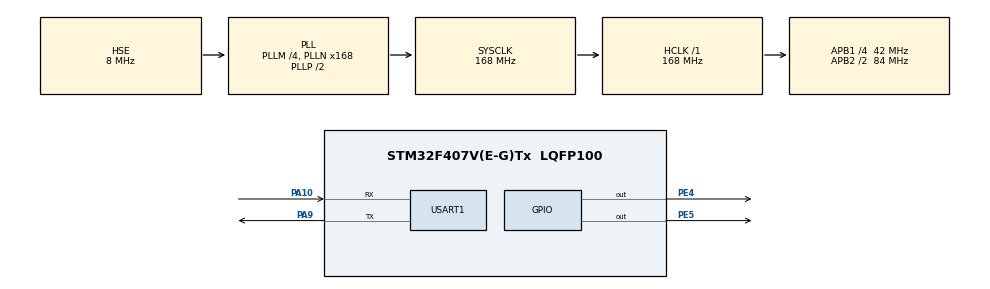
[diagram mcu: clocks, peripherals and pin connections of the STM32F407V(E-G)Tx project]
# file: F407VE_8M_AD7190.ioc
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Mcu.Family=STM32F4
Mcu.Name=STM32F407V(E-G)Tx
Mcu.Package=LQFP100
NVIC.PriorityGroup=NVIC_PRIORITYGROUP_4
NVIC.USART1_IRQn=true\:0\:0\:false\:false\:true\:true\:true
PA10.Mode=Asynchronous
PA10.Signal=USART1_RX
PA13.Mode=Serial_Wire
PA13.Signal=SYS_JTMS-SWDIO
PA14.Mode=Serial_Wire
PA14.Signal=SYS_JTCK-SWCLK
PA9.Mode=Asynchronous
PA9.Signal=USART1_TX
PC14-OSC32_IN.Mode=LSE-External-Oscillator
PC14-OSC32_IN.Signal=RCC_OSC32_IN
PC15-OSC32_OUT.Mode=LSE-External-Oscillator
PC15-OSC32_OUT.Signal=RCC_OSC32_OUT
PE4.GPIO_ModeDefaultOutputPP=GPIO_MODE_OUTPUT_PP
PE4.GPIO_PuPd=GPIO_PULLUP
PE4.GPIO_Speed=GPIO_SPEED_FREQ_VERY_HIGH
PE4.PinState=GPIO_PIN_SET
PE4.Signal=GPIO_Output
PE5.GPIO_ModeDefaultOutputPP=GPIO_MODE_OUTPUT_PP
PE5.GPIO_PuPd=GPIO_PULLUP
PE5.GPIO_Speed=GPIO_SPEED_FREQ_VERY_HIGH
PE5.PinState=GPIO_PIN_SET
PE5.Signal=GPIO_Output
PH0-OSC_IN.Mode=HSE-External-Oscillator
PH0-OSC_IN.Signal=RCC_OSC_IN
PH1-OSC_OUT.Mode=HSE-External-Oscillator
PH1-OSC_OUT.Signal=RCC_OSC_OUT
ProjectManager.HeapSize=0x200
ProjectManager.StackSize=0x400
ProjectManager.TargetToolchain=MDK-ARM V5.27
RCC.48MHZClocksFreq_Value=84000000
RCC.AHBFreq_Value=168000000
RCC.APB1CLKDivider=RCC_HCLK_DIV4
RCC.APB1Freq_Value=42000000
RCC.APB1TimFreq_Value=84000000
RCC.APB2CLKDivider=RCC_HCLK_DIV2
RCC.APB2Freq_Value=84000000
RCC.APB2TimFreq_Value=168000000
RCC.CortexFreq_Value=168000000
RCC.HCLKFreq_Value=168000000
RCC.HSE_VALUE=8000000
RCC.HSI_VALUE=16000000
RCC.PLLM=4
RCC.PLLN=168
RCC.PLLSourceVirtual=RCC_PLLSOURCE_HSE
RCC.SYSCLKFreq_VALUE=168000000
RCC.SYSCLKSource=RCC_SYSCLKSOURCE_PLLCLK
RCC.VCOOutputFreq_Value=336000000
USART1.VirtualMode=VM_ASYNC
board=custom

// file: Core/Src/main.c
/* USER CODE BEGIN Header */
/**
  ******************************************************************************
  * @file           : main.c
  * @brief          : Main program body
  ******************************************************************************
  * @attention
  *
  * <h2><center>&copy; Copyright (c) 2021 STMicroelectronics.
  * All rights reserved.</center></h2>
  *
  * This software component is licensed by ST under BSD 3-Clause license,
  * the "License"; You may not use this file except in compliance with the
  * License. You may obtain a copy of the License at:
  *                        opensource.org/licenses/BSD-3-Clause
  *
  ******************************************************************************
  */
/* USER CODE END Header */
#include "main.h"
#include "usart.h"
#include "gpio.h"

/* USER CODE BEGIN Includes */
#include "DELAY/delay.h"
#include "AD7190/ad7190.h"
/* USER CODE END Includes */

/* USER CODE BEGIN PV */
MyUARTHandle uartHandle;
uint8_t uartBuf[100];
/* USER CODE END PV */

void SystemClock_Config(void);

/* USER CODE BEGIN 0 */
void demo()
{
  AD7190_SetConf(0x000100); // //write configuration register,bipolar operation,gain=1,channel:AIN1 to AIN2
  AD7190_SetMode(0x0803FF); // write mode register,internal 4.92MHz clock,output data rate=4.7Hz
}
/* USER CODE END 0 */

int main(void)
{
  /* USER CODE BEGIN 1 */
  uint32_t ID, conf;
  uint8_t str[100];
  uint32_t val;
  /* USER CODE END 1 */

  /* MCU Configuration--------------------------------------------------------*/

  /* Reset of all peripherals, Initializes the Flash interface and the Systick. */
  HAL_Init();

  /* Configure the system clock */
  SystemClock_Config();

  /* Initialize all configured peripherals */
  MX_GPIO_Init();
  MX_USART1_UART_Init();
  /* USER CODE BEGIN 2 */
  Delay_Init(168);
  AD7190_Init(3.0);
  MyUART_Init(&uartHandle, USART1, uartBuf, 100);
  printf("AD7190 Test\r\n\r\n");
  /* USER CODE END 2 */

  /* Infinite loop */
  while (1)
  {

    /* USER CODE BEGIN 3 */
    val=MyUART_ReadUntil(&uartHandle, str, '>');
    if(val)
    {
      str[val]='\0';
      if(str[0]=='r')
      {
        AD7190_Reset();
        printf("Reset sequence sent\r\n");
      }
      else if(str[0]=='i')
        printf("ID: 0x%x\r\n", AD7190_GetID());
      else if(str[0]=='c')
      {
        if(str[1]=='\0' || str[1]=='>')
          printf("Conf: 0x%x\r\n", AD7190_GetConf());
        else
        {
          AD7190_SetConf(myatoi_hex(str+1));
          printf("SetConf: 0x%x\r\n", AD7190_GetConf());
        }
      }
      else if(str[0]=='s')
        printf("State: 0x%x\r\n", AD7190_GetState());
      else if(str[0]=='m')
      {
        if(str[1]=='\0' || str[1]=='>')
          printf("Mode: 0x%x\r\n", AD7190_GetMode());
        else
        {
          AD7190_SetMode(myatoi_hex(str+1));
          printf("SetMode: 0x%x\r\n", AD7190_GetMode());
        }
      }
      else if(str[0]=='d')
        printf("Data: 0x%x\r\n", AD7190_GetData());
      else if(str[0]=='v')
        printf("Voltage: %f\r\n", AD7190_GetVoltage());
      else if(str[0]=='t')
      {
        demo();
        printf("Demo\r\n");
      }
    }
    Delay_ms(20);
  }
  /* USER CODE END 3 */
}

void SystemClock_Config(void)
{
  RCC_OscInitTypeDef RCC_OscInitStruct = {0};
  RCC_ClkInitTypeDef RCC_ClkInitStruct = {0};

  /** Configure the main internal regulator output voltage
  */
  __HAL_RCC_PWR_CLK_ENABLE();
  __HAL_PWR_VOLTAGESCALING_CONFIG(PWR_REGULATOR_VOLTAGE_SCALE1);
  /** Initializes the RCC Oscillators according to the specified parameters
  * in the RCC_OscInitTypeDef structure.
  */
  RCC_OscInitStruct.OscillatorType = RCC_OSCILLATORTYPE_HSE;
  RCC_OscInitStruct.HSEState = RCC_HSE_ON;
  RCC_OscInitStruct.PLL.PLLState = RCC_PLL_ON;
  RCC_OscInitStruct.PLL.PLLSource = RCC_PLLSOURCE_HSE;
  RCC_OscInitStruct.PLL.PLLM = 4;
  RCC_OscInitStruct.PLL.PLLN = 168;
  RCC_OscInitStruct.PLL.PLLP = RCC_PLLP_DIV2;
  RCC_OscInitStruct.PLL.PLLQ = 4;
  if (HAL_RCC_OscConfig(&RCC_OscInitStruct) != HAL_OK)
  {
    Error_Handler();
  }
  /** Initializes the CPU, AHB and APB buses clocks
  */
  RCC_ClkInitStruct.ClockType = RCC_CLOCKTYPE_HCLK|RCC_CLOCKTYPE_SYSCLK
                              |RCC_CLOCKTYPE_PCLK1|RCC_CLOCKTYPE_PCLK2;
  RCC_ClkInitStruct.SYSCLKSource = RCC_SYSCLKSOURCE_PLLCLK;
  RCC_ClkInitStruct.AHBCLKDivider = RCC_SYSCLK_DIV1;
  RCC_ClkInitStruct.APB1CLKDivider = RCC_HCLK_DIV4;
  RCC_ClkInitStruct.APB2CLKDivider = RCC_HCLK_DIV2;

  if (HAL_RCC_ClockConfig(&RCC_ClkInitStruct, FLASH_LATENCY_5) != HAL_OK)
  {
    Error_Handler();
  }
}

void Error_Handler(void)
{
  __disable_irq();
  while (1)
  {
  }
}

/************************ (C) COPYRIGHT STMicroelectronics *****END OF FILE****/
